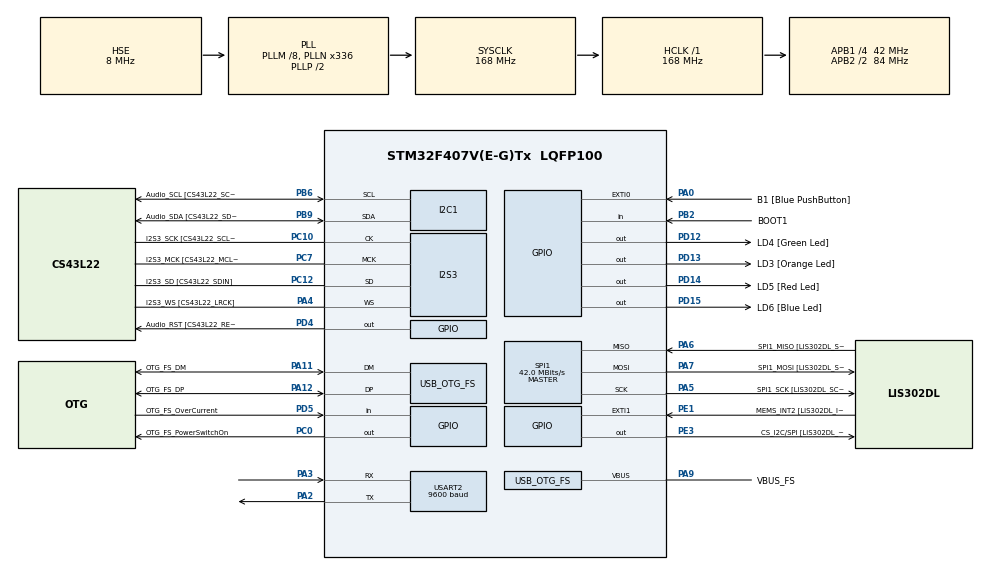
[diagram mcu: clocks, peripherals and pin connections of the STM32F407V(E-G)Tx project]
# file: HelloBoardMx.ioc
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I2S3.AudioFreq-Half_Duplex_Master=I2S_AUDIOFREQ_96K
I2S3.ErrorAudioFreq=-2.34 %
I2S3.ErrorAudioFreq-Half_Duplex_Master=0.8 %
I2S3.FullDuplexMode=I2S_FULLDUPLEXMODE_DISABLE
I2S3.Instance=SPI$Index
I2S3.RealAudioFreq=93.75 KHz
I2S3.RealAudioFreq-Half_Duplex_Master=96.774 KHz
I2S3.VirtualMode=I2S_MODE_MASTER
Mcu.Family=STM32F4
Mcu.Name=STM32F407V(E-G)Tx
Mcu.Package=LQFP100
NVIC.OTG_FS_IRQn=true\:0\:0\:false\:false\:true\:true\:true\:true
NVIC.PriorityGroup=NVIC_PRIORITYGROUP_0
NVIC.TIM3_IRQn=true\:0\:0\:false\:false\:true\:true\:true\:true
NVIC.USART2_IRQn=true\:0\:0\:false\:true\:true\:1\:true\:true\:true
PA0-WKUP.GPIO_Label=B1 [Blue PushButton]
PA0-WKUP.GPIO_ModeDefaultEXTI=GPIO_MODE_EVT_RISING
PA0-WKUP.GPIO_PuPd=GPIO_NOPULL
PA0-WKUP.Signal=GPXTI0
PA10.GPIO_Label=OTG_FS_ID
PA10.GPIO_Mode=GPIO_MODE_AF_PP
PA10.GPIO_PuPd=GPIO_NOPULL
PA10.GPIO_Speed=GPIO_SPEED_FREQ_LOW
PA10.Signal=USB_OTG_FS_ID
PA11.GPIO_Label=OTG_FS_DM
PA11.GPIO_Mode=GPIO_MODE_AF_PP
PA11.GPIO_PuPd=GPIO_NOPULL
PA11.GPIO_Speed=GPIO_SPEED_FREQ_LOW
PA11.Mode=Host_Only
PA11.Signal=USB_OTG_FS_DM
PA12.GPIO_Label=OTG_FS_DP
PA12.GPIO_Mode=GPIO_MODE_AF_PP
PA12.GPIO_PuPd=GPIO_NOPULL
PA12.GPIO_Speed=GPIO_SPEED_FREQ_LOW
PA12.Mode=Host_Only
PA12.Signal=USB_OTG_FS_DP
PA13.GPIO_Label=SWDIO
PA13.Mode=Serial_Wire
PA13.Signal=SYS_JTMS-SWDIO
PA14.GPIO_Label=SWCLK
PA14.Mode=Serial_Wire
PA14.Signal=SYS_JTCK-SWCLK
PA2.Mode=Asynchronous
PA2.Signal=USART2_TX
PA3.Mode=Asynchronous
PA3.Signal=USART2_RX
PA4.GPIO_Label=I2S3_WS [CS43L22_LRCK]
PA4.GPIO_Mode=GPIO_MODE_AF_PP
PA4.GPIO_PuPd=GPIO_NOPULL
PA4.GPIO_Speed=GPIO_SPEED_FREQ_LOW
PA4.Mode=Half_Duplex_Master
PA4.Signal=I2S3_WS
PA5.GPIO_Label=SPI1_SCK [LIS302DL_SCL/SPC]
PA5.GPIO_Mode=GPIO_MODE_AF_PP
PA5.GPIO_PuPd=GPIO_NOPULL
PA5.GPIO_Speed=GPIO_SPEED_FREQ_LOW
PA5.Mode=Full_Duplex_Master
PA5.Signal=SPI1_SCK
PA6.GPIO_Label=SPI1_MISO [LIS302DL_SDO]
PA6.GPIO_Mode=GPIO_MODE_AF_PP
PA6.GPIO_PuPd=GPIO_NOPULL
PA6.GPIO_Speed=GPIO_SPEED_FREQ_LOW
PA6.Mode=Full_Duplex_Master
PA6.Signal=SPI1_MISO
PA7.GPIO_Label=SPI1_MOSI [LIS302DL_SDA/SDI/SDO]
PA7.GPIO_Mode=GPIO_MODE_AF_PP
PA7.GPIO_PuPd=GPIO_NOPULL
PA7.GPIO_Speed=GPIO_SPEED_FREQ_LOW
PA7.Mode=Full_Duplex_Master
PA7.Signal=SPI1_MOSI
PA9.GPIO_Label=VBUS_FS
PA9.GPIO_Mode=GPIO_MODE_INPUT
PA9.GPIO_PuPd=GPIO_NOPULL
PA9.Mode=Activate_VBUS
PA9.Signal=USB_OTG_FS_VBUS
PB10.GPIO_Label=CLK_IN [MP45DT02_CLK]
PB10.GPIO_Mode=GPIO_MODE_AF_PP
PB10.GPIO_PuPd=GPIO_NOPULL
PB10.GPIO_Speed=GPIO_SPEED_FREQ_LOW
PB10.Signal=I2S2_CK
PB2.GPIO_Label=BOOT1
PB2.GPIO_Mode=GPIO_MODE_INPUT
PB2.GPIO_PuPd=GPIO_NOPULL
PB2.Signal=GPIO_Input
PB3.GPIO_Label=SWO
PB3.Signal=SYS_JTDO-SWO
PB6.GPIO_Label=Audio_SCL [CS43L22_SCL]
PB6.GPIO_Mode=GPIO_MODE_AF_OD
PB6.GPIO_Pu=GPIO_PULLUP
PB6.GPIO_PuPd=GPIO_NOPULL
PB6.GPIO_Speed=GPIO_SPEED_FREQ_LOW
PB6.Mode=I2C
PB6.Signal=I2C1_SCL
PB9.GPIO_Label=Audio_SDA [CS43L22_SDA]
PB9.GPIO_Mode=GPIO_MODE_AF_OD
PB9.GPIO_Pu=GPIO_PULLUP
PB9.GPIO_PuPd=GPIO_NOPULL
PB9.GPIO_Speed=GPIO_SPEED_FREQ_LOW
PB9.Mode=I2C
PB9.Signal=I2C1_SDA
PC0.GPIO_Label=OTG_FS_PowerSwitchOn
PC0.GPIO_PuPd=GPIO_NOPULL
PC0.GPIO_Speed=GPIO_SPEED_FREQ_LOW
PC0.PinState=GPIO_PIN_SET
PC0.Signal=GPIO_Output
PC10.GPIO_Label=I2S3_SCK [CS43L22_SCLK]
PC10.GPIO_Mode=GPIO_MODE_AF_PP
PC10.GPIO_PuPd=GPIO_NOPULL
PC10.GPIO_Speed=GPIO_SPEED_FREQ_LOW
PC10.Mode=Half_Duplex_Master
PC10.Signal=I2S3_CK
PC12.GPIO_Label=I2S3_SD [CS43L22_SDIN]
PC12.GPIO_Mode=GPIO_MODE_AF_PP
PC12.GPIO_PuPd=GPIO_NOPULL
PC12.GPIO_Speed=GPIO_SPEED_FREQ_LOW
PC12.Mode=Half_Duplex_Master
PC12.Signal=I2S3_SD
PC14-OSC32_IN.GPIO_Label=PC14-OSC32_IN
PC14-OSC32_IN.Mode=LSE-External-Oscillator
PC14-OSC32_IN.Signal=RCC_OSC32_IN
PC15-OSC32_OUT.GPIO_Label=PC15-OSC32_OUT
PC15-OSC32_OUT.Mode=LSE-External-Oscillator
PC15-OSC32_OUT.Signal=RCC_OSC32_OUT
PC3.GPIO_Label=PDM_OUT [MP45DT02_DOUT]
PC3.GPIO_Mode=GPIO_MODE_AF_PP
PC3.GPIO_PuPd=GPIO_NOPULL
PC3.GPIO_Speed=GPIO_SPEED_FREQ_LOW
PC3.Signal=I2S2_SD
PC7.GPIO_Label=I2S3_MCK [CS43L22_MCLK]
PC7.GPIO_Mode=GPIO_MODE_AF_PP
PC7.GPIO_PuPd=GPIO_NOPULL
PC7.GPIO_Speed=GPIO_SPEED_FREQ_LOW
PC7.Mode=Master_Clock_Activated
PC7.Signal=I2S3_MCK
PD12.GPIO_Label=LD4 [Green Led]
PD12.GPIO_PuPd=GPIO_NOPULL
PD12.GPIO_Speed=GPIO_SPEED_FREQ_LOW
PD12.Signal=GPIO_Output
PD13.GPIO_Label=LD3 [Orange Led]
PD13.GPIO_PuPd=GPIO_NOPULL
PD13.GPIO_Speed=GPIO_SPEED_FREQ_LOW
PD13.Signal=GPIO_Output
PD14.GPIO_Label=LD5 [Red Led]
PD14.GPIO_PuPd=GPIO_NOPULL
PD14.GPIO_Speed=GPIO_SPEED_FREQ_LOW
PD14.Signal=GPIO_Output
PD15.GPIO_Label=LD6 [Blue Led]
PD15.GPIO_PuPd=GPIO_NOPULL
PD15.GPIO_Speed=GPIO_SPEED_FREQ_LOW
PD15.Signal=GPIO_Output
PD4.GPIO_Label=Audio_RST [CS43L22_RESET]
PD4.GPIO_PuPd=GPIO_NOPULL
PD4.GPIO_Speed=GPIO_SPEED_FREQ_LOW
PD4.Signal=GPIO_Output
PD5.GPIO_Label=OTG_FS_OverCurrent
PD5.GPIO_Mode=GPIO_MODE_INPUT
PD5.GPIO_PuPd=GPIO_NOPULL
PD5.Signal=GPIO_Input
PE1.GPIO_Label=MEMS_INT2 [LIS302DL_INT2]
PE1.GPIO_ModeDefaultEXTI=GPIO_MODE_EVT_RISING
PE1.GPIO_PuPd=GPIO_NOPULL
PE1.Signal=GPXTI1
PE3.GPIO_Label=CS_I2C/SPI [LIS302DL_CS_I2C/SPI]
PE3.GPIO_PuPd=GPIO_NOPULL
PE3.GPIO_Speed=GPIO_SPEED_FREQ_LOW
PE3.Signal=GPIO_Output
PH0-OSC_IN.GPIO_Label=PH0-OSC_IN
PH0-OSC_IN.Mode=HSE-External-Oscillator
PH0-OSC_IN.Signal=RCC_OSC_IN
PH1-OSC_OUT.GPIO_Label=PH1-OSC_OUT
PH1-OSC_OUT.Mode=HSE-External-Oscillator
PH1-OSC_OUT.Signal=RCC_OSC_OUT
ProjectManager.HeapSize=0x200
ProjectManager.StackSize=0x400
ProjectManager.TargetToolchain=Makefile
RCC.48MHZClocksFreq_Value=48000000
RCC.AHBFreq_Value=168000000
RCC.APB1CLKDivider=RCC_HCLK_DIV4
RCC.APB1Freq_Value=42000000
RCC.APB1TimFreq_Value=84000000
RCC.APB2CLKDivider=RCC_HCLK_DIV2
RCC.APB2Freq_Value=84000000
RCC.APB2TimFreq_Value=168000000
RCC.CortexFreq_Value=168000000
RCC.HCLKFreq_Value=168000000
RCC.HSE_VALUE=8000000
RCC.HSI_VALUE=16000000
RCC.PLLM=8
RCC.PLLN=336
RCC.PLLQ=7
RCC.SYSCLKFreq_VALUE=168000000
RCC.SYSCLKSource=RCC_SYSCLKSOURCE_PLLCLK
RCC.VCOOutputFreq_Value=336000000
SPI1.BaudRatePrescaler-Full_Duplex_Master=SPI_BAUDRATEPRESCALER_2
SPI1.CalculateBaudRate=42.0 MBits/s
SPI1.CalculateBaudRate-Full_Duplex_Master=42.0 MBits/s
SPI1.Direction=SPI_DIRECTION_2LINES
SPI1.Mode=SPI_MODE_MASTER
SPI1.Mode-Full_Duplex_Master=SPI_MODE_MASTER
SPI1.VirtualType=VM_MASTER
TIM3.Period=9999
TIM3.Prescaler=8399
USART2.BaudRate=9600
USART2.VirtualMode=VM_ASYNC
USB_HOST.BSP.number=1
USB_HOST.USBH_HandleTypeDef-CDC_FS=hUsbHostFS
USB_HOST.VirtualModeFS=Cdc
USB_HOST0.BSP.STBoard=false
USB_HOST0.BSP.api=Unknown
USB_HOST0.BSP.instance=PC0
USB_HOST0.BSP.ip=GPIO
USB_HOST0.BSP.mode=Output
USB_HOST0.BSP.name=Drive_VBUS_FS
USB_HOST0.BSP.solution=PC0
USB_OTG_FS.VirtualMode=Host_Only
USB_OTG_FS.phy_itface=HCD_PHY_EMBEDDED
VP_TIM3_VS_ClockSourceINT.Mode=Internal
VP_USB_HOST_VS_USB_HOST_CDC_FS.Mode=CDC_FS
board=STM32F407G-DISC1

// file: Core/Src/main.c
/* USER CODE BEGIN Header */
/**
  ******************************************************************************
  * @file           : main.c
  * @brief          : Main program body
  ******************************************************************************
  * @attention
  *
  * Copyright (c) 2023 STMicroelectronics.
  * All rights reserved.
  *
  * This software is licensed under terms that can be found in the LICENSE file
  * in the root directory of this software component.
  * If no LICENSE file comes with this software, it is provided AS-IS.
  *
  ******************************************************************************
  */
/* USER CODE END Header */
#include "main.h"
#include "usb_host.h"

/* USER CODE BEGIN Includes */
#include "stdio.h"
/* USER CODE END Includes */

I2C_HandleTypeDef hi2c1;

I2S_HandleTypeDef hi2s3;

SPI_HandleTypeDef hspi1;

TIM_HandleTypeDef htim3;

UART_HandleTypeDef huart2;

/* USER CODE BEGIN PV */
uint8_t UART2_rxBuf[12] = {0};
/* USER CODE END PV */

void SystemClock_Config(void);
static void MX_GPIO_Init(void);
static void MX_I2C1_Init(void);
static void MX_I2S3_Init(void);
static void MX_SPI1_Init(void);
static void MX_TIM3_Init(void);
static void MX_USART2_UART_Init(void);
static void MX_NVIC_Init(void);
void MX_USB_HOST_Process(void);

/* USER CODE BEGIN 0 */

void ConfigureGPIOs()
{
  // https://embetronicx.com/tutorials/microcontrollers/stm32/stm32-gpio-tutorial/
  // 5 GPIO ports available - A/B/C/D/E
  // Below line enables clock for IO Port A
  SET_BIT(RCC->AHB1ENR, RCC_AHB1ENR_GPIODEN);
  /*
    Each GPIO Port has 16 pins
    Ports have an associated MODER register
    Using the MODER register, each pin has 2 bits dedicated to setting the Mode
    Mode bits are:
      * 00 - Input (reset state)
      * 01 - General Purpose Output Mode
      * 10 - Alternate Function Mode
      * 11 - Analog Mode
   */

  /* Configuring GPIO's
   * Port Mode Register(GPIOx_MODER)
   * Port Output Type Register (GPIOx_OTYPER)
   * Port Output speed register (GPIOx_OSPEEDR)
   * Port Pullup-Pulldown Register (GPIO_PUPDR)
  */

  // Inbuilt LEDs are on Port D, pins 13/12/14/15
  // This should set the LEDs as OUTPUT
  GPIOD->MODER = 0x55400000;
  /* Input/Output Registers
    GPIOx_IDR / GPIOx_ODR
    Bits 0-15 are used to read/write values from desired pins.
    Input data register is read only.
    Bits 16-31 are reserved
   */
  GPIOD->ODR = 0xF000;
}

void ToggleLEDs() {
  if (GPIOD->ODR) {
    GPIOD->ODR = 0;
  } else {
    GPIOD->ODR = 0xF000;
  }
}

void InitPeripherals() {
  char aSetBaudBuf[17] = {0};
  int aBufLen = snprintf(aSetBaudBuf, 17, "AT+BAUD=%lu\r\n", (uint32_t)115200);
  HAL_UART_Transmit(&huart2, (uint8_t *)aSetBaudBuf, aBufLen, 100);
}
/* USER CODE END 0 */

int main(void)
{

  /* MCU Configuration--------------------------------------------------------*/

  /* Reset of all peripherals, Initializes the Flash interface and the Systick. */
  HAL_Init();

  /* Configure the system clock */
  SystemClock_Config();

  /* Initialize all configured peripherals */
  MX_GPIO_Init();
  MX_I2C1_Init();
  MX_I2S3_Init();
  MX_SPI1_Init();
  MX_USB_HOST_Init();
  MX_TIM3_Init();
  MX_USART2_UART_Init();

  /* Initialize interrupts */
  MX_NVIC_Init();
  /* USER CODE BEGIN 2 */
  ConfigureGPIOs();
  char uart_buf[50];
  int uart_buf_len = 0;
  InitPeripherals();
  huart2.Instance->BRR;
  uart_buf_len = snprintf(uart_buf, 50, "Serial comms started!\r\n");
  HAL_UART_Transmit_IT(&huart2, (uint8_t *)uart_buf, uart_buf_len);
  HAL_UART_Receive_IT(&huart2, UART2_rxBuf, 12);
  HAL_TIM_Base_Start_IT(&htim3);
  /* USER CODE END 2 */

  /* Infinite loop */
  while (1)
  {
    MX_USB_HOST_Process();

  }
}

void SystemClock_Config(void)
{
  RCC_OscInitTypeDef RCC_OscInitStruct = {0};
  RCC_ClkInitTypeDef RCC_ClkInitStruct = {0};

  /** Configure the main internal regulator output voltage
  */
  __HAL_RCC_PWR_CLK_ENABLE();
  __HAL_PWR_VOLTAGESCALING_CONFIG(PWR_REGULATOR_VOLTAGE_SCALE1);

  /** Initializes the RCC Oscillators according to the specified parameters
  * in the RCC_OscInitTypeDef structure.
  */
  RCC_OscInitStruct.OscillatorType = RCC_OSCILLATORTYPE_HSE;
  RCC_OscInitStruct.HSEState = RCC_HSE_ON;
  RCC_OscInitStruct.PLL.PLLState = RCC_PLL_ON;
  RCC_OscInitStruct.PLL.PLLSource = RCC_PLLSOURCE_HSE;
  RCC_OscInitStruct.PLL.PLLM = 8;
  RCC_OscInitStruct.PLL.PLLN = 336;
  RCC_OscInitStruct.PLL.PLLP = RCC_PLLP_DIV2;
  RCC_OscInitStruct.PLL.PLLQ = 7;
  if (HAL_RCC_OscConfig(&RCC_OscInitStruct) != HAL_OK)
  {
    Error_Handler();
  }

  /** Initializes the CPU, AHB and APB buses clocks
  */
  RCC_ClkInitStruct.ClockType = RCC_CLOCKTYPE_HCLK|RCC_CLOCKTYPE_SYSCLK
                              |RCC_CLOCKTYPE_PCLK1|RCC_CLOCKTYPE_PCLK2;
  RCC_ClkInitStruct.SYSCLKSource = RCC_SYSCLKSOURCE_PLLCLK;
  RCC_ClkInitStruct.AHBCLKDivider = RCC_SYSCLK_DIV1;
  RCC_ClkInitStruct.APB1CLKDivider = RCC_HCLK_DIV4;
  RCC_ClkInitStruct.APB2CLKDivider = RCC_HCLK_DIV2;

  if (HAL_RCC_ClockConfig(&RCC_ClkInitStruct, FLASH_LATENCY_5) != HAL_OK)
  {
    Error_Handler();
  }
}

/**
  * @brief NVIC Configuration.
  * @retval None
  */
static void MX_NVIC_Init(void)
{
  /* USART2_IRQn interrupt configuration */
  HAL_NVIC_SetPriority(USART2_IRQn, 0, 0);
  HAL_NVIC_EnableIRQ(USART2_IRQn);
}

static void MX_I2C1_Init(void)
{

  hi2c1.Instance = I2C1;
  hi2c1.Init.ClockSpeed = 100000;
  hi2c1.Init.DutyCycle = I2C_DUTYCYCLE_2;
  hi2c1.Init.OwnAddress1 = 0;
  hi2c1.Init.AddressingMode = I2C_ADDRESSINGMODE_7BIT;
  hi2c1.Init.DualAddressMode = I2C_DUALADDRESS_DISABLE;
  hi2c1.Init.OwnAddress2 = 0;
  hi2c1.Init.GeneralCallMode = I2C_GENERALCALL_DISABLE;
  hi2c1.Init.NoStretchMode = I2C_NOSTRETCH_DISABLE;
  if (HAL_I2C_Init(&hi2c1) != HAL_OK)
  {
    Error_Handler();
  }

}

static void MX_I2S3_Init(void)
{

  hi2s3.Instance = SPI3;
  hi2s3.Init.Mode = I2S_MODE_MASTER_TX;
  hi2s3.Init.Standard = I2S_STANDARD_PHILIPS;
  hi2s3.Init.DataFormat = I2S_DATAFORMAT_16B;
  hi2s3.Init.MCLKOutput = I2S_MCLKOUTPUT_ENABLE;
  hi2s3.Init.AudioFreq = I2S_AUDIOFREQ_96K;
  hi2s3.Init.CPOL = I2S_CPOL_LOW;
  hi2s3.Init.ClockSource = I2S_CLOCK_PLL;
  hi2s3.Init.FullDuplexMode = I2S_FULLDUPLEXMODE_DISABLE;
  if (HAL_I2S_Init(&hi2s3) != HAL_OK)
  {
    Error_Handler();
  }

}

static void MX_SPI1_Init(void)
{

  /* SPI1 parameter configuration*/
  hspi1.Instance = SPI1;
  hspi1.Init.Mode = SPI_MODE_MASTER;
  hspi1.Init.Direction = SPI_DIRECTION_2LINES;
  hspi1.Init.DataSize = SPI_DATASIZE_8BIT;
  hspi1.Init.CLKPolarity = SPI_POLARITY_LOW;
  hspi1.Init.CLKPhase = SPI_PHASE_1EDGE;
  hspi1.Init.NSS = SPI_NSS_SOFT;
  hspi1.Init.BaudRatePrescaler = SPI_BAUDRATEPRESCALER_2;
  hspi1.Init.FirstBit = SPI_FIRSTBIT_MSB;
  hspi1.Init.TIMode = SPI_TIMODE_DISABLE;
  hspi1.Init.CRCCalculation = SPI_CRCCALCULATION_DISABLE;
  hspi1.Init.CRCPolynomial = 10;
  if (HAL_SPI_Init(&hspi1) != HAL_OK)
  {
    Error_Handler();
  }

}

static void MX_TIM3_Init(void)
{

  TIM_ClockConfigTypeDef sClockSourceConfig = {0};
  TIM_MasterConfigTypeDef sMasterConfig = {0};

  htim3.Instance = TIM3;
  htim3.Init.Prescaler = 8399;
  htim3.Init.CounterMode = TIM_COUNTERMODE_UP;
  htim3.Init.Period = 9999;
  htim3.Init.ClockDivision = TIM_CLOCKDIVISION_DIV1;
  htim3.Init.AutoReloadPreload = TIM_AUTORELOAD_PRELOAD_DISABLE;
  if (HAL_TIM_Base_Init(&htim3) != HAL_OK)
  {
    Error_Handler();
  }
  sClockSourceConfig.ClockSource = TIM_CLOCKSOURCE_INTERNAL;
  if (HAL_TIM_ConfigClockSource(&htim3, &sClockSourceConfig) != HAL_OK)
  {
    Error_Handler();
  }
  sMasterConfig.MasterOutputTrigger = TIM_TRGO_RESET;
  sMasterConfig.MasterSlaveMode = TIM_MASTERSLAVEMODE_DISABLE;
  if (HAL_TIMEx_MasterConfigSynchronization(&htim3, &sMasterConfig) != HAL_OK)
  {
    Error_Handler();
  }

}

static void MX_USART2_UART_Init(void)
{

  huart2.Instance = USART2;
  huart2.Init.BaudRate = 9600;
  huart2.Init.WordLength = UART_WORDLENGTH_8B;
  huart2.Init.StopBits = UART_STOPBITS_1;
  huart2.Init.Parity = UART_PARITY_NONE;
  huart2.Init.Mode = UART_MODE_TX_RX;
  huart2.Init.HwFlowCtl = UART_HWCONTROL_NONE;
  huart2.Init.OverSampling = UART_OVERSAMPLING_16;
  if (HAL_UART_Init(&huart2) != HAL_OK)
  {
    Error_Handler();
  }

}

static void MX_GPIO_Init(void)
{
  GPIO_InitTypeDef GPIO_InitStruct = {0};

  /* GPIO Ports Clock Enable */
  __HAL_RCC_GPIOE_CLK_ENABLE();
  __HAL_RCC_GPIOC_CLK_ENABLE();
  __HAL_RCC_GPIOH_CLK_ENABLE();
  __HAL_RCC_GPIOA_CLK_ENABLE();
  __HAL_RCC_GPIOB_CLK_ENABLE();
  __HAL_RCC_GPIOD_CLK_ENABLE();

  /*Configure GPIO pin Output Level */
  HAL_GPIO_WritePin(CS_I2C_SPI_GPIO_Port, CS_I2C_SPI_Pin, GPIO_PIN_RESET);

  /*Configure GPIO pin Output Level */
  HAL_GPIO_WritePin(OTG_FS_PowerSwitchOn_GPIO_Port, OTG_FS_PowerSwitchOn_Pin, GPIO_PIN_SET);

  /*Configure GPIO pin Output Level */
  HAL_GPIO_WritePin(GPIOD, LD4_Pin|LD3_Pin|LD5_Pin|LD6_Pin
                          |Audio_RST_Pin, GPIO_PIN_RESET);

  /*Configure GPIO pin : CS_I2C_SPI_Pin */
  GPIO_InitStruct.Pin = CS_I2C_SPI_Pin;
  GPIO_InitStruct.Mode = GPIO_MODE_OUTPUT_PP;
  GPIO_InitStruct.Pull = GPIO_NOPULL;
  GPIO_InitStruct.Speed = GPIO_SPEED_FREQ_LOW;
  HAL_GPIO_Init(CS_I2C_SPI_GPIO_Port, &GPIO_InitStruct);

  /*Configure GPIO pin : OTG_FS_PowerSwitchOn_Pin */
  GPIO_InitStruct.Pin = OTG_FS_PowerSwitchOn_Pin;
  GPIO_InitStruct.Mode = GPIO_MODE_OUTPUT_PP;
  GPIO_InitStruct.Pull = GPIO_NOPULL;
  GPIO_InitStruct.Speed = GPIO_SPEED_FREQ_LOW;
  HAL_GPIO_Init(OTG_FS_PowerSwitchOn_GPIO_Port, &GPIO_InitStruct);

  /*Configure GPIO pin : PDM_OUT_Pin */
  GPIO_InitStruct.Pin = PDM_OUT_Pin;
  GPIO_InitStruct.Mode = GPIO_MODE_AF_PP;
  GPIO_InitStruct.Pull = GPIO_NOPULL;
  GPIO_InitStruct.Speed = GPIO_SPEED_FREQ_LOW;
  GPIO_InitStruct.Alternate = GPIO_AF5_SPI2;
  HAL_GPIO_Init(PDM_OUT_GPIO_Port, &GPIO_InitStruct);

  /*Configure GPIO pin : B1_Pin */
  GPIO_InitStruct.Pin = B1_Pin;
  GPIO_InitStruct.Mode = GPIO_MODE_EVT_RISING;
  GPIO_InitStruct.Pull = GPIO_NOPULL;
  HAL_GPIO_Init(B1_GPIO_Port, &GPIO_InitStruct);

  /*Configure GPIO pin : BOOT1_Pin */
  GPIO_InitStruct.Pin = BOOT1_Pin;
  GPIO_InitStruct.Mode = GPIO_MODE_INPUT;
  GPIO_InitStruct.Pull = GPIO_NOPULL;
  HAL_GPIO_Init(BOOT1_GPIO_Port, &GPIO_InitStruct);

  /*Configure GPIO pin : CLK_IN_Pin */
  GPIO_InitStruct.Pin = CLK_IN_Pin;
  GPIO_InitStruct.Mode = GPIO_MODE_AF_PP;
  GPIO_InitStruct.Pull = GPIO_NOPULL;
  GPIO_InitStruct.Speed = GPIO_SPEED_FREQ_LOW;
  GPIO_InitStruct.Alternate = GPIO_AF5_SPI2;
  HAL_GPIO_Init(CLK_IN_GPIO_Port, &GPIO_InitStruct);

  /*Configure GPIO pins : LD4_Pin LD3_Pin LD5_Pin LD6_Pin
                           Audio_RST_Pin */
  GPIO_InitStruct.Pin = LD4_Pin|LD3_Pin|LD5_Pin|LD6_Pin
                          |Audio_RST_Pin;
  GPIO_InitStruct.Mode = GPIO_MODE_OUTPUT_PP;
  GPIO_InitStruct.Pull = GPIO_NOPULL;
  GPIO_InitStruct.Speed = GPIO_SPEED_FREQ_LOW;
  HAL_GPIO_Init(GPIOD, &GPIO_InitStruct);

  /*Configure GPIO pin : OTG_FS_OverCurrent_Pin */
  GPIO_InitStruct.Pin = OTG_FS_OverCurrent_Pin;
  GPIO_InitStruct.Mode = GPIO_MODE_INPUT;
  GPIO_InitStruct.Pull = GPIO_NOPULL;
  HAL_GPIO_Init(OTG_FS_OverCurrent_GPIO_Port, &GPIO_InitStruct);

  /*Configure GPIO pin : MEMS_INT2_Pin */
  GPIO_InitStruct.Pin = MEMS_INT2_Pin;
  GPIO_InitStruct.Mode = GPIO_MODE_EVT_RISING;
  GPIO_InitStruct.Pull = GPIO_NOPULL;
  HAL_GPIO_Init(MEMS_INT2_GPIO_Port, &GPIO_InitStruct);

}

/* USER CODE BEGIN 4 */
void HAL_TIM_PeriodElapsedCallback(TIM_HandleTypeDef *htim) {
  if (htim == &htim3) {
    ToggleLEDs();
    // HAL_UART_Transmit(&huart2, (uint8_t *)"LEDs toggled!\r\n", 16, 10);
  }
}

void HAL_UART_RxCpltCallback(UART_HandleTypeDef *huart) {
  HAL_UART_Transmit(&huart2, UART2_rxBuf, 12, 100);
  HAL_UART_Receive_IT(&huart2, UART2_rxBuf, 12);
}

/* USER CODE END 4 */

void Error_Handler(void)
{
  /* USER CODE BEGIN Error_Handler_Debug */
  /* User can add his own implementation to report the HAL error return state */
  __disable_irq();
  GPIOD->ODR = 0;
  HAL_GPIO_TogglePin(GPIOD, GPIO_PIN_14);
  while (1)
  {
  }
  /* USER CODE END Error_Handler_Debug */
}
